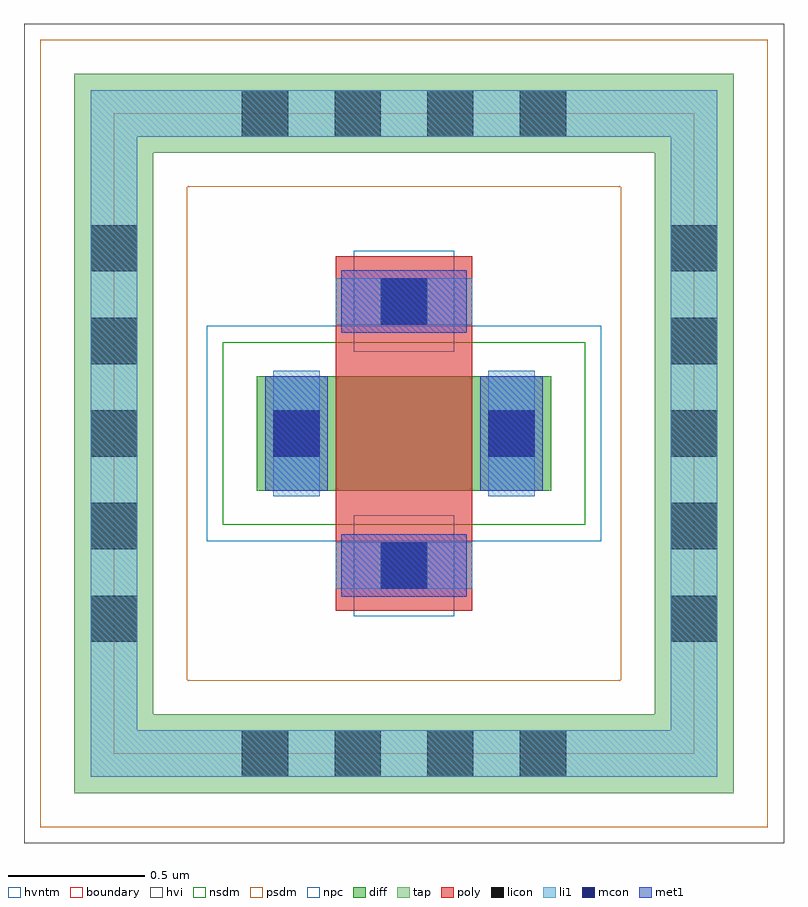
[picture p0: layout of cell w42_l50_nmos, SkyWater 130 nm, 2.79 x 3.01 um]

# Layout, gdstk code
import gdstk
lib = gdstk.Library(unit=1e-6, precision=1e-09)
def R(c, l, rs):  # rectangles x0, y0, x1, y1
    for r in rs: c.add(gdstk.rectangle(r[:2], r[2:], *l))
def A(c, l, x, y, w, h, nx, ny, dx, dy):  # array of equal rectangles
    R(c, l, [(x+i*dx, y+j*dy, x+i*dx+w, y+j*dy+h) for i in range(nx) for j in range(ny)])
diff = (65, 20)
tap = (65, 44)
poly = (66, 20)
licon = (66, 44)
li1 = (67, 20)
mcon = (67, 44)
met1 = (68, 20)
hvi = (75, 20)
nsdm = (93, 44)
psdm = (94, 20)
npc = (95, 20)
hvntm = (125, 20)
boundary = (235, 4)

sky130_fd_pr__nfet_g5v0d = lib.new_cell('sky130_fd_pr__nfet_g5v0d10v5')

w42_l50_nmos = lib.new_cell('w42_l50_nmos')
R(w42_l50_nmos, diff, [(-0.54,-0.21,0.54,0.21)])
R(w42_l50_nmos, tap, [(-1.21,-1.32,1.21,-1.03), (-1.21,-1.03,-0.92,1.03), (0.92,-1.03,1.21,1.03), (-1.21,1.03,1.21,1.32)])
R(w42_l50_nmos, poly, [(-0.25,-0.65,0.25,0.65)])
A(w42_l50_nmos, licon, -0.595, -1.26, 0.17, 0.17, 4, 2, 0.34, 2.35)
A(w42_l50_nmos, licon, -1.15, -0.765, 0.17, 0.17, 1, 5, 0, 0.34)
A(w42_l50_nmos, licon, 0.98, -0.765, 0.17, 0.17, 1, 5, 0, 0.34)
R(w42_l50_nmos, licon, [(-0.085,-0.57,0.085,-0.4), (-0.48,-0.085,-0.31,0.085), (0.31,-0.085,0.48,0.085), (-0.085,0.4,0.085,0.57)])
R(w42_l50_nmos, li1, [(-1.15,-1.26,1.15,-1.09), (-1.15,-1.09,-0.98,1.09), (0.98,-1.09,1.15,1.09), (-0.25,-0.57,0.25,-0.4), (-0.48,-0.23,-0.31,0.23), (0.31,-0.23,0.48,0.23), (-0.25,0.4,0.25,0.57), (-1.15,1.09,1.15,1.26)])
R(w42_l50_nmos, mcon, [(-0.085,-0.57,0.085,-0.4), (-0.48,-0.085,-0.31,0.085), (0.31,-0.085,0.48,0.085), (-0.085,0.4,0.085,0.57)])
R(w42_l50_nmos, met1, [(-0.23,-0.6,0.23,-0.37), (-0.51,-0.21,-0.28,0.21), (0.28,-0.21,0.51,0.21), (-0.23,0.37,0.23,0.6)])
R(w42_l50_nmos, hvi, [(-1.395,-1.505,1.395,1.505)])
R(w42_l50_nmos, nsdm, [(-0.665,-0.335,0.665,0.335)])
R(w42_l50_nmos, psdm, [(-1.335,-1.445,1.335,-0.905), (-1.335,-0.905,-0.795,0.905), (0.795,-0.905,1.335,0.905), (-1.335,0.905,1.335,1.445)])
R(w42_l50_nmos, npc, [(-0.185,-0.67,0.185,-0.3), (-0.185,0.3,0.185,0.67)])
R(w42_l50_nmos, hvntm, [(-0.725,-0.395,0.725,0.395)])
R(w42_l50_nmos, boundary, [(-1.065,-1.175,1.065,1.175)])
w42_l50_nmos.add(gdstk.Reference(sky130_fd_pr__nfet_g5v0d, (0,0)))

lib.write_gds('w42_l50_nmos.gds')
